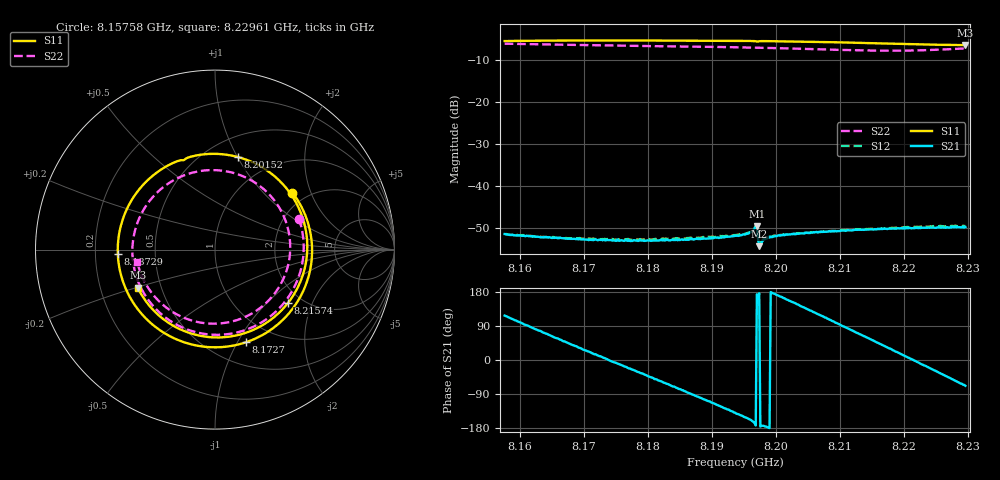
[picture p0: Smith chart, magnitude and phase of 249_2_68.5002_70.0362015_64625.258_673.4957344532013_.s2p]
#  HZ  S  RI  R  50.00
! Rohde & Schwarz Vector Network Analyzer
! Rohde-Schwarz,ZNB20-2Port,1311601062101988,3.16
! Created: UTC 3/20/2024, 4:59:46 PM
! freq[Hz]  re:S11  im:S11  re:S21  im:S21  re:S12  im:S12  re:S22  im:S22
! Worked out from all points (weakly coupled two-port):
!   401 points, 8.15758 GHz to 8.22961 GHz, reference 50 ohm
!   highest |S21| = -49.49 dB at 8.19702 GHz (marker M1); lowest = -54.3 dB at 8.19738 GHz (marker M2)
!   lowest |S11| = -6.4 dB at 8.22961 GHz (marker M3), VSWR 2.84, Z = 18.4 - j10.2 ohm
!   |S11| at or under -10 dB: nowhere
!   |S22| runs from -7.7 to -6.0 dB; largest |S21 - S12| = 0.00024
!   S11 on the Smith chart (normalised r, x): 8.15758 GHz: 1.68, +1.50; 8.1727 GHz: 0.74, -1.09; 8.18729 GHz: 0.30, -0.02; 8.20152 GHz: 0.70, +1.01; 8.21574 GHz: 1.69, -1.35; 8.22961 GHz: 0.37, -0.20
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8.157577e9  0.4311 0.3181  -0.00123 0.00239  -0.0012 0.00235  0.468 0.1713
8.16352e9  0.5384 -0.0566  0.000717 0.00236  0.000681 0.0024  0.4551 -0.1802
8.169643e9  0.3528 -0.4143  0.00201 0.00114  0.00207 0.00119  0.209 -0.4321
8.172704e9  0.1728 -0.5164  0.00228 0.000351  0.0023 0.000361  0.0385 -0.4739
8.177026e9  -0.119 -0.5312  0.0021 -0.000858  0.00215 -0.000885  -0.2002 -0.4252
8.181708e9  -0.3954 -0.373  0.00131 -0.00182  0.00135 -0.00196  -0.392 -0.2499
8.187291e9  -0.5415 -0.0219  -0.000156 -0.00234  -0.0002 -0.0024  -0.4569 0.0482
8.190352e9  -0.5069 0.1883  -0.00103 -0.00221  -0.00111 -0.0022  -0.4052 0.2093
8.193594e9  -0.3841 0.378  -0.00193 -0.00169  -0.00203 -0.00163  -0.2898 0.3469
8.196655e9  -0.2022 0.4951  -0.00303 -0.000707  -0.00312 -0.00064  -0.1381 0.4253
8.197016e9  -0.1767 0.4978  -0.00333 0.000396  -0.00338 0.000531  -0.1183 0.4303
8.197376e9  -0.1617 0.5077  -0.00192 0.000132  -0.00194 0.000206  -0.099 0.4349
8.197736e9  -0.1362 0.5173  -0.00212 -0.000234  -0.00219 -0.000182  -0.0788 0.4384
8.201518e9  0.1299 0.5151  -0.00249 0.000868  -0.00247 0.000965  0.1333 0.4177
8.20566e9  0.3774 0.365  -0.00174 0.00219  -0.0017 0.00227  0.3261 0.2797
8.210702e9  0.5137 0.04  0.000114 0.00296  0.0002 0.003  0.4189 -0.000511
8.215744e9  0.406 -0.298  0.00211 0.00222  0.00222 0.00223  0.2988 -0.2833
8.217725e9  0.3027 -0.3965  0.00269 0.00158  0.00278 0.00153  0.1978 -0.3601
8.220607e9  0.1127 -0.4794  0.00314 0.000367  0.00326 0.00028  0.0172 -0.4121
8.223488e9  -0.0944 -0.4777  0.00306 -0.000909  0.00312 -0.00107  -0.1724 -0.3801
8.22673e9  -0.3031 -0.375  0.00235 -0.00224  0.00229 -0.00243  -0.3481 -0.2474
8.229611e9  -0.4302 -0.2124  0.00122 -0.00302  0.0011 -0.00317  -0.4332 -0.0674
